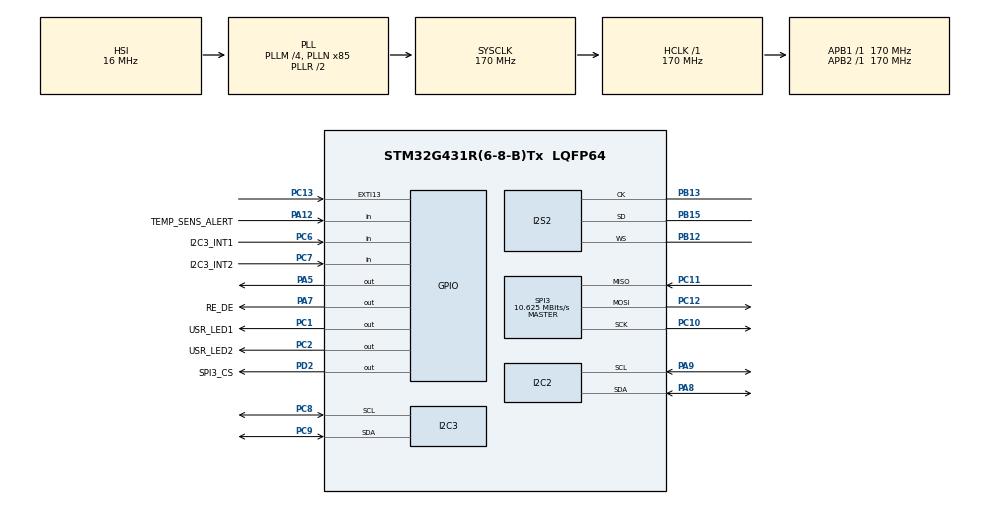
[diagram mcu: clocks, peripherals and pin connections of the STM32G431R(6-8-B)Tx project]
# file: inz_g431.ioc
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Dma.Request0=SPI2_RX
Dma.SPI2_RX.0.Direction=DMA_PERIPH_TO_MEMORY
Dma.SPI2_RX.0.EventEnable=DISABLE
Dma.SPI2_RX.0.Instance=DMA1_Channel1
Dma.SPI2_RX.0.MemDataAlignment=DMA_MDATAALIGN_HALFWORD
Dma.SPI2_RX.0.MemInc=DMA_MINC_ENABLE
Dma.SPI2_RX.0.Mode=DMA_CIRCULAR
Dma.SPI2_RX.0.PeriphDataAlignment=DMA_PDATAALIGN_HALFWORD
Dma.SPI2_RX.0.PeriphInc=DMA_PINC_DISABLE
Dma.SPI2_RX.0.Polarity=HAL_DMAMUX_REQ_GEN_RISING
Dma.SPI2_RX.0.Priority=DMA_PRIORITY_LOW
Dma.SPI2_RX.0.RequestNumber=1
Dma.SPI2_RX.0.SignalID=NONE
Dma.SPI2_RX.0.SyncEnable=DISABLE
Dma.SPI2_RX.0.SyncPolarity=HAL_DMAMUX_SYNC_NO_EVENT
Dma.SPI2_RX.0.SyncRequestNumber=1
Dma.SPI2_RX.0.SyncSignalID=NONE
FATFS._MAX_SS=4096
FATFS._USE_LFN=1
I2C2.Timing=0x40B285C2
I2C3.Timing=0x40B285C2
I2S2.AudioFreq=I2S_AUDIOFREQ_16K
I2S2.DataFormat=I2S_DATAFORMAT_16B_EXTENDED
I2S2.ErrorAudioFreq=0.0 %
I2S2.FullDuplexMode=I2S_FULLDUPLEXMODE_DISABLE
I2S2.Instance=SPI$Index
I2S2.Mode=I2S_MODE_MASTER_RX
I2S2.RealAudioFreq=16.001 KHz
I2S2.VirtualMode=I2S_MODE_MASTER
Mcu.Family=STM32G4
Mcu.Name=STM32G431R(6-8-B)Tx
Mcu.Package=LQFP64
NUCLEO-G431RB.BUTTON=1
NUCLEO-G431RB.LD1=true
NUCLEO-G431RB.VCP=true
NVIC.DMA1_Channel1_IRQn=true\:0\:0\:false\:false\:true\:false\:true\:true
NVIC.EXTI15_10_IRQn=true\:0\:0\:false\:false\:true\:false\:true\:true
NVIC.PriorityGroup=NVIC_PRIORITYGROUP_4
NVIC.SPI2_IRQn=true\:0\:0\:false\:false\:true\:true\:true\:true
PA12.GPIO_Label=TEMP_SENS_ALERT
PA12.Signal=GPIO_Input
PA13.GPIO_Label=T_SWDIO
PA13.Signal=SYS_JTMS-SWDIO
PA14.GPIO_Label=T_SWCLK
PA14.Signal=SYS_JTCK-SWCLK
PA2.Signal=LPUART1_TX
PA3.Signal=LPUART1_RX
PA5.Signal=GPIO_Output
PA7.GPIO_Label=RE_DE
PA7.Signal=GPIO_Output
PA8.Mode=I2C
PA8.Signal=I2C2_SDA
PA9.Mode=I2C
PA9.Signal=I2C2_SCL
PB12.Mode=Half_Duplex_Master
PB12.Signal=I2S2_WS
PB13.Mode=Half_Duplex_Master
PB13.Signal=I2S2_CK
PB15.Mode=Half_Duplex_Master
PB15.Signal=I2S2_SD
PB3.GPIO_Label=T_SWO
PB3.Signal=SYS_JTDO-SWO
PC1.GPIO_Label=USR_LED1
PC1.Signal=GPIO_Output
PC10.Mode=Full_Duplex_Master
PC10.Signal=SPI3_SCK
PC11.Mode=Full_Duplex_Master
PC11.Signal=SPI3_MISO
PC12.Mode=Full_Duplex_Master
PC12.Signal=SPI3_MOSI
PC13.Signal=GPXTI13
PC14-OSC32_IN.GPIO_Label=RCC_OSC32_OUT
PC14-OSC32_IN.Mode=LSE-External-Clock-Source
PC14-OSC32_IN.Signal=RCC_OSC32_IN
PC15-OSC32_OUT.GPIO_Label=RCC_OSC32_OUT
PC15-OSC32_OUT.Signal=RCC_OSC32_OUT
PC2.GPIO_Label=USR_LED2
PC2.Signal=GPIO_Output
PC6.GPIO_Label=I2C3_INT1
PC6.Signal=GPIO_Input
PC7.GPIO_Label=I2C3_INT2
PC7.Signal=GPIO_Input
PC8.Mode=I2C
PC8.Signal=I2C3_SCL
PC9.Mode=I2C
PC9.Signal=I2C3_SDA
PD2.GPIO_Label=SPI3_CS
PD2.Signal=GPIO_Output
PF0-OSC_IN.GPIO_Label=RCC_OSC_IN
PF0-OSC_IN.Mode=HSE-External-Clock-Source
PF0-OSC_IN.Signal=RCC_OSC_IN
PF1-OSC_OUT.GPIO_Label=RCC_OSC_OUT
PF1-OSC_OUT.Signal=RCC_OSC_OUT
ProjectManager.HeapSize=0x200
ProjectManager.StackSize=0x400
ProjectManager.TargetToolchain=STM32CubeIDE
RCC.ADC12Freq_Value=170000000
RCC.AHBFreq_Value=170000000
RCC.APB1Freq_Value=170000000
RCC.APB1TimFreq_Value=170000000
RCC.APB2Freq_Value=170000000
RCC.APB2TimFreq_Value=170000000
RCC.CortexFreq_Value=170000000
RCC.EXTERNAL_CLOCK_VALUE=12288000
RCC.HCLKFreq_Value=170000000
RCC.HSE_VALUE=24000000
RCC.HSI48_VALUE=48000000
RCC.HSI_VALUE=16000000
RCC.LSE_VALUE=32768
RCC.PLLM=RCC_PLLM_DIV4
RCC.PLLN=85
RCC.RTCClockSelection=RCC_RTCCLKSOURCE_LSE
RCC.SYSCLKFreq_VALUE=170000000
RCC.SYSCLKSource=RCC_SYSCLKSOURCE_PLLCLK
RCC.USBFreq_Value=170000000
RCC.VCOOutputFreq_Value=340000000
SPI3.BaudRatePrescaler=SPI_BAUDRATEPRESCALER_16
SPI3.CalculateBaudRate=10.625 MBits/s
SPI3.DataSize=SPI_DATASIZE_8BIT
SPI3.Direction=SPI_DIRECTION_2LINES
SPI3.Mode=SPI_MODE_MASTER
SPI3.VirtualType=VM_MASTER
VP_FATFS_VS_Generic.Mode=User_defined
VP_NUCLEO-G431RB_VS_BSP_COMMON.Mode=COMMON
VP_SYS_VS_DBSignals.Mode=DisableDeadBatterySignals
board=NUCLEO-G431RB

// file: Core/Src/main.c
/* USER CODE BEGIN Header */
/**
  ******************************************************************************
  * @file           : main.c
  * @brief          : Main program body
  ******************************************************************************
  * @attention
  *
  * Copyright (c) 2025 STMicroelectronics.
  * All rights reserved.
  *
  * This software is licensed under terms that can be found in the LICENSE file
  * in the root directory of this software component.
  * If no LICENSE file comes with this software, it is provided AS-IS.
  *
  ******************************************************************************
  */
/* USER CODE END Header */
#include "main.h"
#include "app_fatfs.h"

/* USER CODE BEGIN Includes */
#include "fft.h"
#include "fft_util.h"
#include "LSM6DS3.h"
#include <stdio.h>
#include <string.h>
#include <stdbool.h>
#include <math.h>
/* USER CODE END Includes */

//COM_InitTypeDef BspCOMInit;
I2C_HandleTypeDef hi2c2;
I2C_HandleTypeDef hi2c3;

I2S_HandleTypeDef hi2s2;
DMA_HandleTypeDef hdma_spi2_rx;

SPI_HandleTypeDef hspi3;

/* USER CODE BEGIN PV */
char TxBuffer[250];
int toReceive = 0;
int16_t micBuffer[MIC_BUF_LEN];
volatile uint8_t micHalfDataReady = 0;
volatile uint8_t micFullDataReady = 0;

float axl_odr = 6666.0f;
float axl_full_scale = 4.0f;
/* USER CODE END PV */

void SystemClock_Config(void);
static void MX_GPIO_Init(void);
static void MX_DMA_Init(void);
static void MX_I2S2_Init(void);
static void MX_SPI3_Init(void);
static void MX_I2C2_Init(void);
static void MX_I2C3_Init(void);
/* USER CODE BEGIN PFP */

//static void MX_LPUART1_UART_Init(void);
//int _write(int file, char *ptr, int len);
/* USER CODE END PFP */

/* USER CODE BEGIN 0 */
//int _write(int file, char *ptr, int len) {
//    HAL_UART_Transmit(&huart2, (uint8_t*)ptr, len, HAL_MAX_DELAY);
//    return len;
//}
//void send_uart(const char *msg)
//{
//    HAL_UART_Transmit(&huart2, (uint8_t*)msg, strlen(msg), HAL_MAX_DELAY);
//}
/* USER CODE END 0 */

int main(void)
{

  /* MCU Configuration--------------------------------------------------------*/

  /* Reset of all peripherals, Initializes the Flash interface and the Systick. */
  HAL_Init();

  /* Configure the system clock */
  SystemClock_Config();

  /* Initialize all configured peripherals */
  MX_GPIO_Init();
  MX_DMA_Init();
  MX_I2S2_Init();
  MX_SPI3_Init();
  if (MX_FATFS_Init() != APP_OK) {
    Error_Handler();
  }
  MX_I2C2_Init();
  MX_I2C3_Init();
  /* USER CODE BEGIN 2 */
//  uint32_t sample_idx = 0;
  /* USER CODE END 2 */

  /* Initialize leds */

  /* Initialize USER push-button, will be used to trigger an interrupt each time it's pressed.*/
  BSP_PB_Init(BUTTON_USER, BUTTON_MODE_EXTI);

  /* Infinite loop */
  /* USER CODE BEGIN WHILE */
  //initialize dma for microphone
  HAL_I2S_Receive_DMA(&hi2s2, (uint16_t*)micBuffer, MIC_BUF_LEN);
  if (HAL_I2C_Init(&hi2c3) != HAL_OK){
	  HAL_GPIO_TogglePin(GPIOC, USR_LED1_Pin);
	  HAL_Delay(2000);
  }

  //setup axl
  LSM6DS3_initialize(hi2c3, axl_odr, axl_full_scale);
  //check if the device really is LSM6DS3
  int whoami = LSM6DS3_check_who_am_i(hi2c3);
  HAL_GPIO_TogglePin(GPIOC, USR_LED1_Pin);
  if (whoami != LSM6DS3_WHO_AM_I){
	  Error_Handler();
  }
  //calculate fft based on sd card data
//  memset(signal_input, 0, sizeof(signal_input));
//  fft_count = 0;
//  SD_LoadFFT_4096("zniszczoney_v4.txt");
//  compute_fft_and_print();
  HAL_GPIO_WritePin(GPIOC, USR_LED2_Pin, GPIO_PIN_SET); // LED on during collection
  memset(signal_input, 0, sizeof(signal_input));
  fft_count = 0;

    while (fft_count < N_SAMPLES) {
        if (LSM6DS3_data_ready(hi2c3)) {
            LSM6DS3_AccelData acc = LSM6DS3_read_acceleration(hi2c3, axl_full_scale);
            if (acc.status == 1) {
                signal_input[fft_count] = acc.x;
                fft_count++;
            }
        }
    }
    SD_SaveSignal("accel_x_1.csv", signal_input, N_SAMPLES);
    memset(signal_input, 0, sizeof(signal_input));
    fft_count = 0;

    while (fft_count < N_SAMPLES) {
        if (LSM6DS3_data_ready(hi2c3)) {
            LSM6DS3_AccelData acc =
                LSM6DS3_read_acceleration(hi2c3, axl_full_scale);

            if (acc.status == 1) {
                signal_input[fft_count] = acc.y;
                fft_count++;
            }
        }
    }

    SD_SaveSignal("accel_y_1.csv", signal_input, N_SAMPLES);

    memset(signal_input, 0, sizeof(signal_input));
    fft_count = 0;

    while (fft_count < N_SAMPLES) {
        if (LSM6DS3_data_ready(hi2c3)) {
            LSM6DS3_AccelData acc =
                LSM6DS3_read_acceleration(hi2c3, axl_full_scale);

            if (acc.status == 1) {
                signal_input[fft_count] = acc.z;
                fft_count++;
            }
        }
    }

    SD_SaveSignal("accel_z_1.csv", signal_input, N_SAMPLES);
    compute_fft_and_print("fft_14_12_2025_1.txt", "fft_raw_14_12_2025_1.txt");
    while (!micHalfDataReady){

    }
    SD_SaveMicBuffer("mic_14_12_2025_1.txt", micBuffer, MIC_BUF_LEN);
    micHalfDataReady = 0;
    while (!micHalfDataReady){

        }
    SD_SaveMicBuffer("mic_14_12_2025_2.txt", micBuffer, MIC_BUF_LEN);
    micHalfDataReady = 0;

  HAL_GPIO_WritePin(GPIOC, USR_LED1_Pin, GPIO_PIN_RESET); // LED off after collection
  HAL_GPIO_WritePin(GPIOC, USR_LED2_Pin, GPIO_PIN_RESET);   // LED2 steady on

  // ===== STEP 2: Copy data to signal_input and compute FFT =====

  // Copy accelerometer data to FFT input buffer

  // Compute and save FFT
//  compute_fft_and_print();

  while (1)
  {

    /* USER CODE END WHILE */

    /* USER CODE BEGIN 3 */
	  HAL_Delay(1000);
	  if (micHalfDataReady){
		  micHalfDataReady = 0;
		  HAL_GPIO_TogglePin(GPIOC, USR_LED2_Pin);
	  }
	  if (LSM6DS3_data_ready(hi2c3)){
		  LSM6DS3_AccelData acc = LSM6DS3_read_acceleration(hi2c3, axl_full_scale);
		  if (acc.status == 1){
			  HAL_GPIO_TogglePin(GPIOC, USR_LED1_Pin);
		  }
	  }

  }
  /* USER CODE END 3 */
}

void SystemClock_Config(void)
{
  RCC_OscInitTypeDef RCC_OscInitStruct = {0};
  RCC_ClkInitTypeDef RCC_ClkInitStruct = {0};

  /** Configure the main internal regulator output voltage
  */
  HAL_PWREx_ControlVoltageScaling(PWR_REGULATOR_VOLTAGE_SCALE1_BOOST);

  /** Initializes the RCC Oscillators according to the specified parameters
  * in the RCC_OscInitTypeDef structure.
  */
  RCC_OscInitStruct.OscillatorType = RCC_OSCILLATORTYPE_HSI;
  RCC_OscInitStruct.HSIState = RCC_HSI_ON;
  RCC_OscInitStruct.HSICalibrationValue = RCC_HSICALIBRATION_DEFAULT;
  RCC_OscInitStruct.PLL.PLLState = RCC_PLL_ON;
  RCC_OscInitStruct.PLL.PLLSource = RCC_PLLSOURCE_HSI;
  RCC_OscInitStruct.PLL.PLLM = RCC_PLLM_DIV4;
  RCC_OscInitStruct.PLL.PLLN = 85;
  RCC_OscInitStruct.PLL.PLLP = RCC_PLLP_DIV2;
  RCC_OscInitStruct.PLL.PLLQ = RCC_PLLQ_DIV2;
  RCC_OscInitStruct.PLL.PLLR = RCC_PLLR_DIV2;
  if (HAL_RCC_OscConfig(&RCC_OscInitStruct) != HAL_OK)
  {
    Error_Handler();
  }

  /** Initializes the CPU, AHB and APB buses clocks
  */
  RCC_ClkInitStruct.ClockType = RCC_CLOCKTYPE_HCLK|RCC_CLOCKTYPE_SYSCLK
                              |RCC_CLOCKTYPE_PCLK1|RCC_CLOCKTYPE_PCLK2;
  RCC_ClkInitStruct.SYSCLKSource = RCC_SYSCLKSOURCE_PLLCLK;
  RCC_ClkInitStruct.AHBCLKDivider = RCC_SYSCLK_DIV1;
  RCC_ClkInitStruct.APB1CLKDivider = RCC_HCLK_DIV1;
  RCC_ClkInitStruct.APB2CLKDivider = RCC_HCLK_DIV1;

  if (HAL_RCC_ClockConfig(&RCC_ClkInitStruct, FLASH_LATENCY_4) != HAL_OK)
  {
    Error_Handler();
  }
}

static void MX_I2C2_Init(void)
{

  hi2c2.Instance = I2C2;
  hi2c2.Init.Timing = 0x40B285C2;
  hi2c2.Init.OwnAddress1 = 0;
  hi2c2.Init.AddressingMode = I2C_ADDRESSINGMODE_7BIT;
  hi2c2.Init.DualAddressMode = I2C_DUALADDRESS_DISABLE;
  hi2c2.Init.OwnAddress2 = 0;
  hi2c2.Init.OwnAddress2Masks = I2C_OA2_NOMASK;
  hi2c2.Init.GeneralCallMode = I2C_GENERALCALL_DISABLE;
  hi2c2.Init.NoStretchMode = I2C_NOSTRETCH_DISABLE;
  if (HAL_I2C_Init(&hi2c2) != HAL_OK)
  {
    Error_Handler();
  }

  /** Configure Analogue filter
  */
  if (HAL_I2CEx_ConfigAnalogFilter(&hi2c2, I2C_ANALOGFILTER_ENABLE) != HAL_OK)
  {
    Error_Handler();
  }

  /** Configure Digital filter
  */
  if (HAL_I2CEx_ConfigDigitalFilter(&hi2c2, 0) != HAL_OK)
  {
    Error_Handler();
  }

}

static void MX_I2C3_Init(void)
{

  hi2c3.Instance = I2C3;
  hi2c3.Init.Timing = 0x40B285C2;
  hi2c3.Init.OwnAddress1 = 0;
  hi2c3.Init.AddressingMode = I2C_ADDRESSINGMODE_7BIT;
  hi2c3.Init.DualAddressMode = I2C_DUALADDRESS_DISABLE;
  hi2c3.Init.OwnAddress2 = 0;
  hi2c3.Init.OwnAddress2Masks = I2C_OA2_NOMASK;
  hi2c3.Init.GeneralCallMode = I2C_GENERALCALL_DISABLE;
  hi2c3.Init.NoStretchMode = I2C_NOSTRETCH_DISABLE;
  if (HAL_I2C_Init(&hi2c3) != HAL_OK)
  {
    Error_Handler();
  }

  /** Configure Analogue filter
  */
  if (HAL_I2CEx_ConfigAnalogFilter(&hi2c3, I2C_ANALOGFILTER_ENABLE) != HAL_OK)
  {
    Error_Handler();
  }

  /** Configure Digital filter
  */
  if (HAL_I2CEx_ConfigDigitalFilter(&hi2c3, 0) != HAL_OK)
  {
    Error_Handler();
  }

}

static void MX_I2S2_Init(void)
{

  hi2s2.Instance = SPI2;
  hi2s2.Init.Mode = I2S_MODE_MASTER_RX;
  hi2s2.Init.Standard = I2S_STANDARD_PHILIPS;
  hi2s2.Init.DataFormat = I2S_DATAFORMAT_16B_EXTENDED;
  hi2s2.Init.MCLKOutput = I2S_MCLKOUTPUT_DISABLE;
  hi2s2.Init.AudioFreq = I2S_AUDIOFREQ_16K;
  hi2s2.Init.CPOL = I2S_CPOL_LOW;
  if (HAL_I2S_Init(&hi2s2) != HAL_OK)
  {
    Error_Handler();
  }

}

static void MX_SPI3_Init(void)
{

  /* SPI3 parameter configuration*/
  hspi3.Instance = SPI3;
  hspi3.Init.Mode = SPI_MODE_MASTER;
  hspi3.Init.Direction = SPI_DIRECTION_2LINES;
  hspi3.Init.DataSize = SPI_DATASIZE_8BIT;
  hspi3.Init.CLKPolarity = SPI_POLARITY_LOW;
  hspi3.Init.CLKPhase = SPI_PHASE_1EDGE;
  hspi3.Init.NSS = SPI_NSS_SOFT;
  hspi3.Init.BaudRatePrescaler = SPI_BAUDRATEPRESCALER_16;
  hspi3.Init.FirstBit = SPI_FIRSTBIT_MSB;
  hspi3.Init.TIMode = SPI_TIMODE_DISABLE;
  hspi3.Init.CRCCalculation = SPI_CRCCALCULATION_DISABLE;
  hspi3.Init.CRCPolynomial = 7;
  hspi3.Init.CRCLength = SPI_CRC_LENGTH_DATASIZE;
  hspi3.Init.NSSPMode = SPI_NSS_PULSE_ENABLE;
  if (HAL_SPI_Init(&hspi3) != HAL_OK)
  {
    Error_Handler();
  }

}

static void MX_DMA_Init(void)
{

  /* DMA controller clock enable */
  __HAL_RCC_DMAMUX1_CLK_ENABLE();
  __HAL_RCC_DMA1_CLK_ENABLE();

  /* DMA interrupt init */
  /* DMA1_Channel1_IRQn interrupt configuration */
  HAL_NVIC_SetPriority(DMA1_Channel1_IRQn, 0, 0);
  HAL_NVIC_EnableIRQ(DMA1_Channel1_IRQn);

}

static void MX_GPIO_Init(void)
{
  GPIO_InitTypeDef GPIO_InitStruct = {0};

  /* GPIO Ports Clock Enable */
  __HAL_RCC_GPIOC_CLK_ENABLE();
  __HAL_RCC_GPIOF_CLK_ENABLE();
  __HAL_RCC_GPIOA_CLK_ENABLE();
  __HAL_RCC_GPIOB_CLK_ENABLE();
  __HAL_RCC_GPIOD_CLK_ENABLE();

  /*Configure GPIO pin Output Level */
  HAL_GPIO_WritePin(GPIOC, USR_LED1_Pin|USR_LED2_Pin, GPIO_PIN_RESET);

  /*Configure GPIO pin Output Level */
  HAL_GPIO_WritePin(RE_DE_GPIO_Port, RE_DE_Pin, GPIO_PIN_RESET);

  /*Configure GPIO pin Output Level */
  HAL_GPIO_WritePin(SPI3_CS_GPIO_Port, SPI3_CS_Pin, GPIO_PIN_RESET);

  /*Configure GPIO pins : USR_LED1_Pin USR_LED2_Pin */
  GPIO_InitStruct.Pin = USR_LED1_Pin|USR_LED2_Pin;
  GPIO_InitStruct.Mode = GPIO_MODE_OUTPUT_PP;
  GPIO_InitStruct.Pull = GPIO_NOPULL;
  GPIO_InitStruct.Speed = GPIO_SPEED_FREQ_LOW;
  HAL_GPIO_Init(GPIOC, &GPIO_InitStruct);

  /*Configure GPIO pin : RE_DE_Pin */
  GPIO_InitStruct.Pin = RE_DE_Pin;
  GPIO_InitStruct.Mode = GPIO_MODE_OUTPUT_PP;
  GPIO_InitStruct.Pull = GPIO_NOPULL;
  GPIO_InitStruct.Speed = GPIO_SPEED_FREQ_LOW;
  HAL_GPIO_Init(RE_DE_GPIO_Port, &GPIO_InitStruct);

  /*Configure GPIO pins : I2C3_INT1_Pin I2C3_INT2_Pin */
  GPIO_InitStruct.Pin = I2C3_INT1_Pin|I2C3_INT2_Pin;
  GPIO_InitStruct.Mode = GPIO_MODE_INPUT;
  GPIO_InitStruct.Pull = GPIO_NOPULL;
  HAL_GPIO_Init(GPIOC, &GPIO_InitStruct);

  /*Configure GPIO pin : TEMP_SENS_ALERT_Pin */
  GPIO_InitStruct.Pin = TEMP_SENS_ALERT_Pin;
  GPIO_InitStruct.Mode = GPIO_MODE_INPUT;
  GPIO_InitStruct.Pull = GPIO_NOPULL;
  HAL_GPIO_Init(TEMP_SENS_ALERT_GPIO_Port, &GPIO_InitStruct);

  /*Configure GPIO pin : SPI3_CS_Pin */
  GPIO_InitStruct.Pin = SPI3_CS_Pin;
  GPIO_InitStruct.Mode = GPIO_MODE_OUTPUT_PP;
  GPIO_InitStruct.Pull = GPIO_NOPULL;
  GPIO_InitStruct.Speed = GPIO_SPEED_FREQ_LOW;
  HAL_GPIO_Init(SPI3_CS_GPIO_Port, &GPIO_InitStruct);

}

/* USER CODE BEGIN 4 */
void HAL_I2S_RxHalfCpltCallback(I2S_HandleTypeDef *hi2s){
	micHalfDataReady = 1;
}
//static void MX_LPUART1_UART_Init(void)
//{
//    huart2.Instance = LPUART1;
//    huart2.Init.BaudRate = 115200;
//    huart2.Init.WordLength = UART_WORDLENGTH_8B;
//    huart2.Init.StopBits = UART_STOPBITS_1;
//    huart2.Init.Parity = UART_PARITY_NONE;
//    huart2.Init.Mode = UART_MODE_TX_RX;
//    huart2.Init.HwFlowCtl = UART_HWCONTROL_NONE;
//    huart2.Init.OverSampling = UART_OVERSAMPLING_16;
//    huart2.Init.OneBitSampling = UART_ONE_BIT_SAMPLE_DISABLE;
//    huart2.Init.ClockPrescaler = UART_PRESCALER_DIV1;
//    huart2.AdvancedInit.AdvFeatureInit = UART_ADVFEATURE_NO_INIT;
//
//    if (HAL_UART_Init(&huart2) != HAL_OK) {
//        Error_Handler();
//    }
//}

/* USER CODE END 4 */

void Error_Handler(void)
{
  __disable_irq();
  while (1)
  {
  }
}
